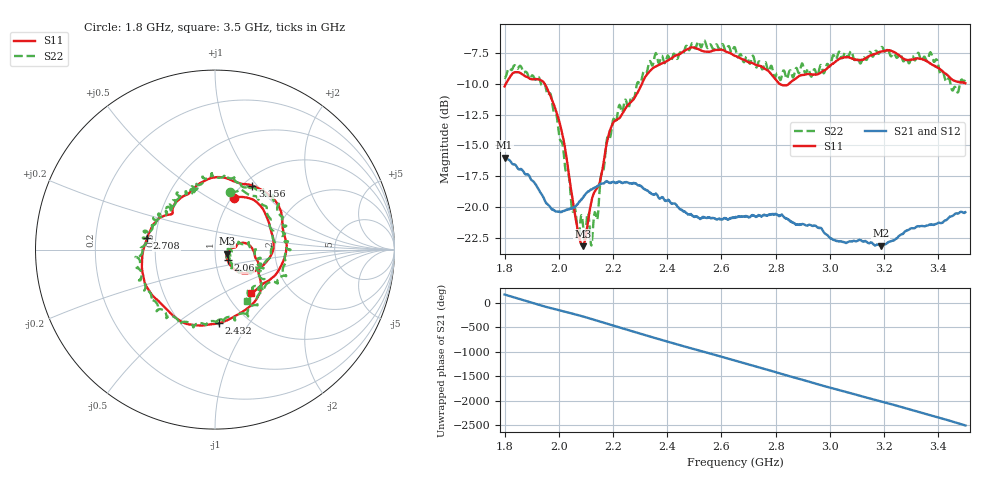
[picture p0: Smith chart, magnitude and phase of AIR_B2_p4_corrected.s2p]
! Created with skrf 1.9.0 (http://scikit-rf.org).
# Hz S RI R 50.0
!freq ReS11 ImS11 ReS21 ImS21 ReS12 ImS12 ReS22 ImS22
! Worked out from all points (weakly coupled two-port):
!   1601 points, 1.8 GHz to 3.5 GHz, reference 50 ohm
!   highest |S21| = -15.97 dB at 1.8 GHz (marker M1); lowest = -23.1 dB at 3.188 GHz (marker M2)
!   lowest |S11| = -23.1 dB at 2.088 GHz (marker M3), VSWR 1.15, Z = 57 - j2.56 ohm
!   |S11| at or under -10 dB: start of sweep to 1.804738 GHz; 1.947 GHz to 2.307 GHz (359.5 MHz wide, 16.9 % of centre); 2.813 GHz to 2.849 GHz (36.07 MHz wide, 1.27 % of centre)
!   |S22| runs from -23.1 to -6.5 dB; largest |S21 - S12| = 0.0027
!   S11 on the Smith chart (normalised r, x): 1.8 GHz: 1.02, +0.65; 2.06 GHz: 1.14, -0.14; 2.432 GHz: 0.74, -0.73; 2.708 GHz: 0.45, +0.07; 3.156 GHz: 1.10, +0.95; 3.5 GHz: 1.29, -0.70
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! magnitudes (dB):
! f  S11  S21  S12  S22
! 1.8 GHz  -10.2  -16.0  -16.0  -9.5
! 1.857 GHz  -9.1  -16.9  -17.0  -8.6
! 1.952 GHz  -10.2  -19.6  -19.6  -10.3
! 2.01 GHz  -13.8  -20.4  -20.3  -14.7
! 2.06 GHz  -20.7  -19.9  -19.9  -20.1
! 2.084 GHz  -23.0  -19.4  -19.3  -20.6
! 2.088 GHz  -23.1  -19.3  -19.3  -21.1
! 2.123 GHz  -19.3  -18.5  -18.5  -22.6
! 2.195 GHz  -13.4  -18.0  -18.0  -13.6
! 2.367 GHz  -8.5  -19.2  -19.1  -8.3
! 2.432 GHz  -7.7  -19.8  -19.7  -7.9
! 2.536 GHz  -7.4  -20.8  -20.8  -6.5
! 2.65 GHz  -7.8  -20.9  -20.8  -7.1
! 2.708 GHz  -8.3  -20.7  -20.8  -8.2
! 2.829 GHz  -10.1  -20.7  -20.6  -8.9
! 2.934 GHz  -9.3  -21.5  -21.5  -9.4
! 3.156 GHz  -7.7  -22.9  -22.9  -7.8
! 3.188 GHz  -7.4  -23.1  -23.0  -7.2
! 3.217 GHz  -7.3  -22.8  -22.8  -7.3
! 3.373 GHz  -8.4  -21.4  -21.4  -7.5
! 3.466 GHz  -9.8  -20.5  -20.5  -10.5
! 3.5 GHz  -10.0  -20.4  -20.4  -9.5
